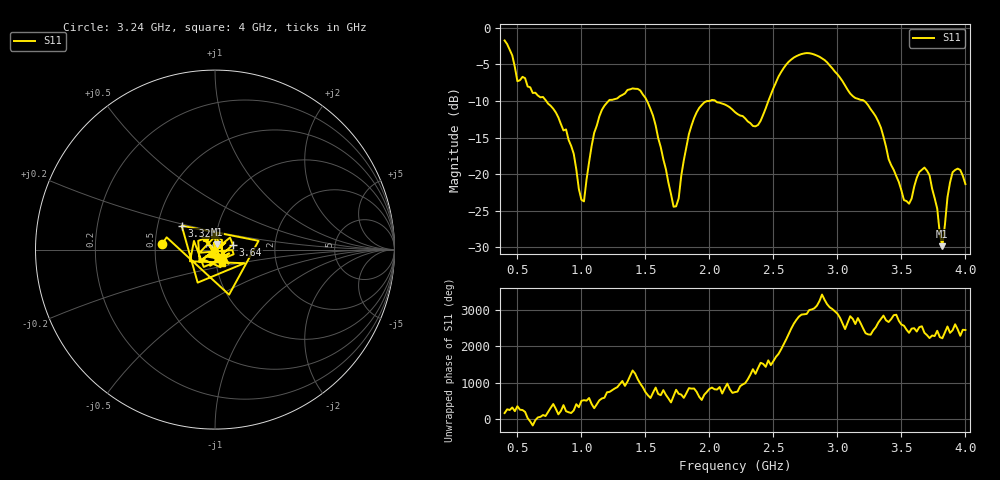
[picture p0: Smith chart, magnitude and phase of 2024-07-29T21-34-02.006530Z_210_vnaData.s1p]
!Created with skrf (http://scikit-rf.org).
# Hz S RI R 50.0
!freq ReS11 ImS11
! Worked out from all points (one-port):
!   181 points, 400 MHz to 4 GHz, reference 50 ohm
!   lowest |S11| = -29.9 dB at 3.82 GHz (marker M1), VSWR 1.07, Z = 51.2 + j3.03 ohm
!   |S11| at or under -10 dB: 725.1 MHz to 1.212 GHz (486.6 MHz wide, 50.2 % of centre); 1.513 GHz to 2.001 GHz (488.5 MHz wide, 27.8 % of centre); 3.21 GHz to end of sweep (the widest 3 of 4)
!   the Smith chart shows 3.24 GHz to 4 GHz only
!   S11 on the Smith chart (normalised r, x): 3.24 GHz: 0.54, +0.04; 3.32 GHz: 0.67, +0.19; 3.64 GHz: 1.22, +0.07; 4 GHz: 1.06, -0.17
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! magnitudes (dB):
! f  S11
! 400 MHz  -1.7
! 500 MHz  -7.3
! 860 MHz  -14.0
! 940 MHz  -17.2
! 1.02 GHz  -23.7
! 1.08 GHz  -16.1
! 1.14 GHz  -12.1
! 1.3 GHz  -9.3
! 1.5 GHz  -9.6
! 1.58 GHz  -13.3
! 1.72 GHz  -24.5
! 1.76 GHz  -23.3
! 1.84 GHz  -14.5
! 1.92 GHz  -11.0
! 2.2 GHz  -11.5
! 2.38 GHz  -13.3
! 2.66 GHz  -4.0
! 2.88 GHz  -4.2
! 3.1 GHz  -9.0
! 3.24 GHz  -10.6
! 3.32 GHz  -12.8
! 3.56 GHz  -24.1
! 3.64 GHz  -19.7
! 3.72 GHz  -20.2
! 3.82 GHz  -29.9
! 3.86 GHz  -23.2
! 3.9 GHz  -19.7
! 4 GHz  -21.4
